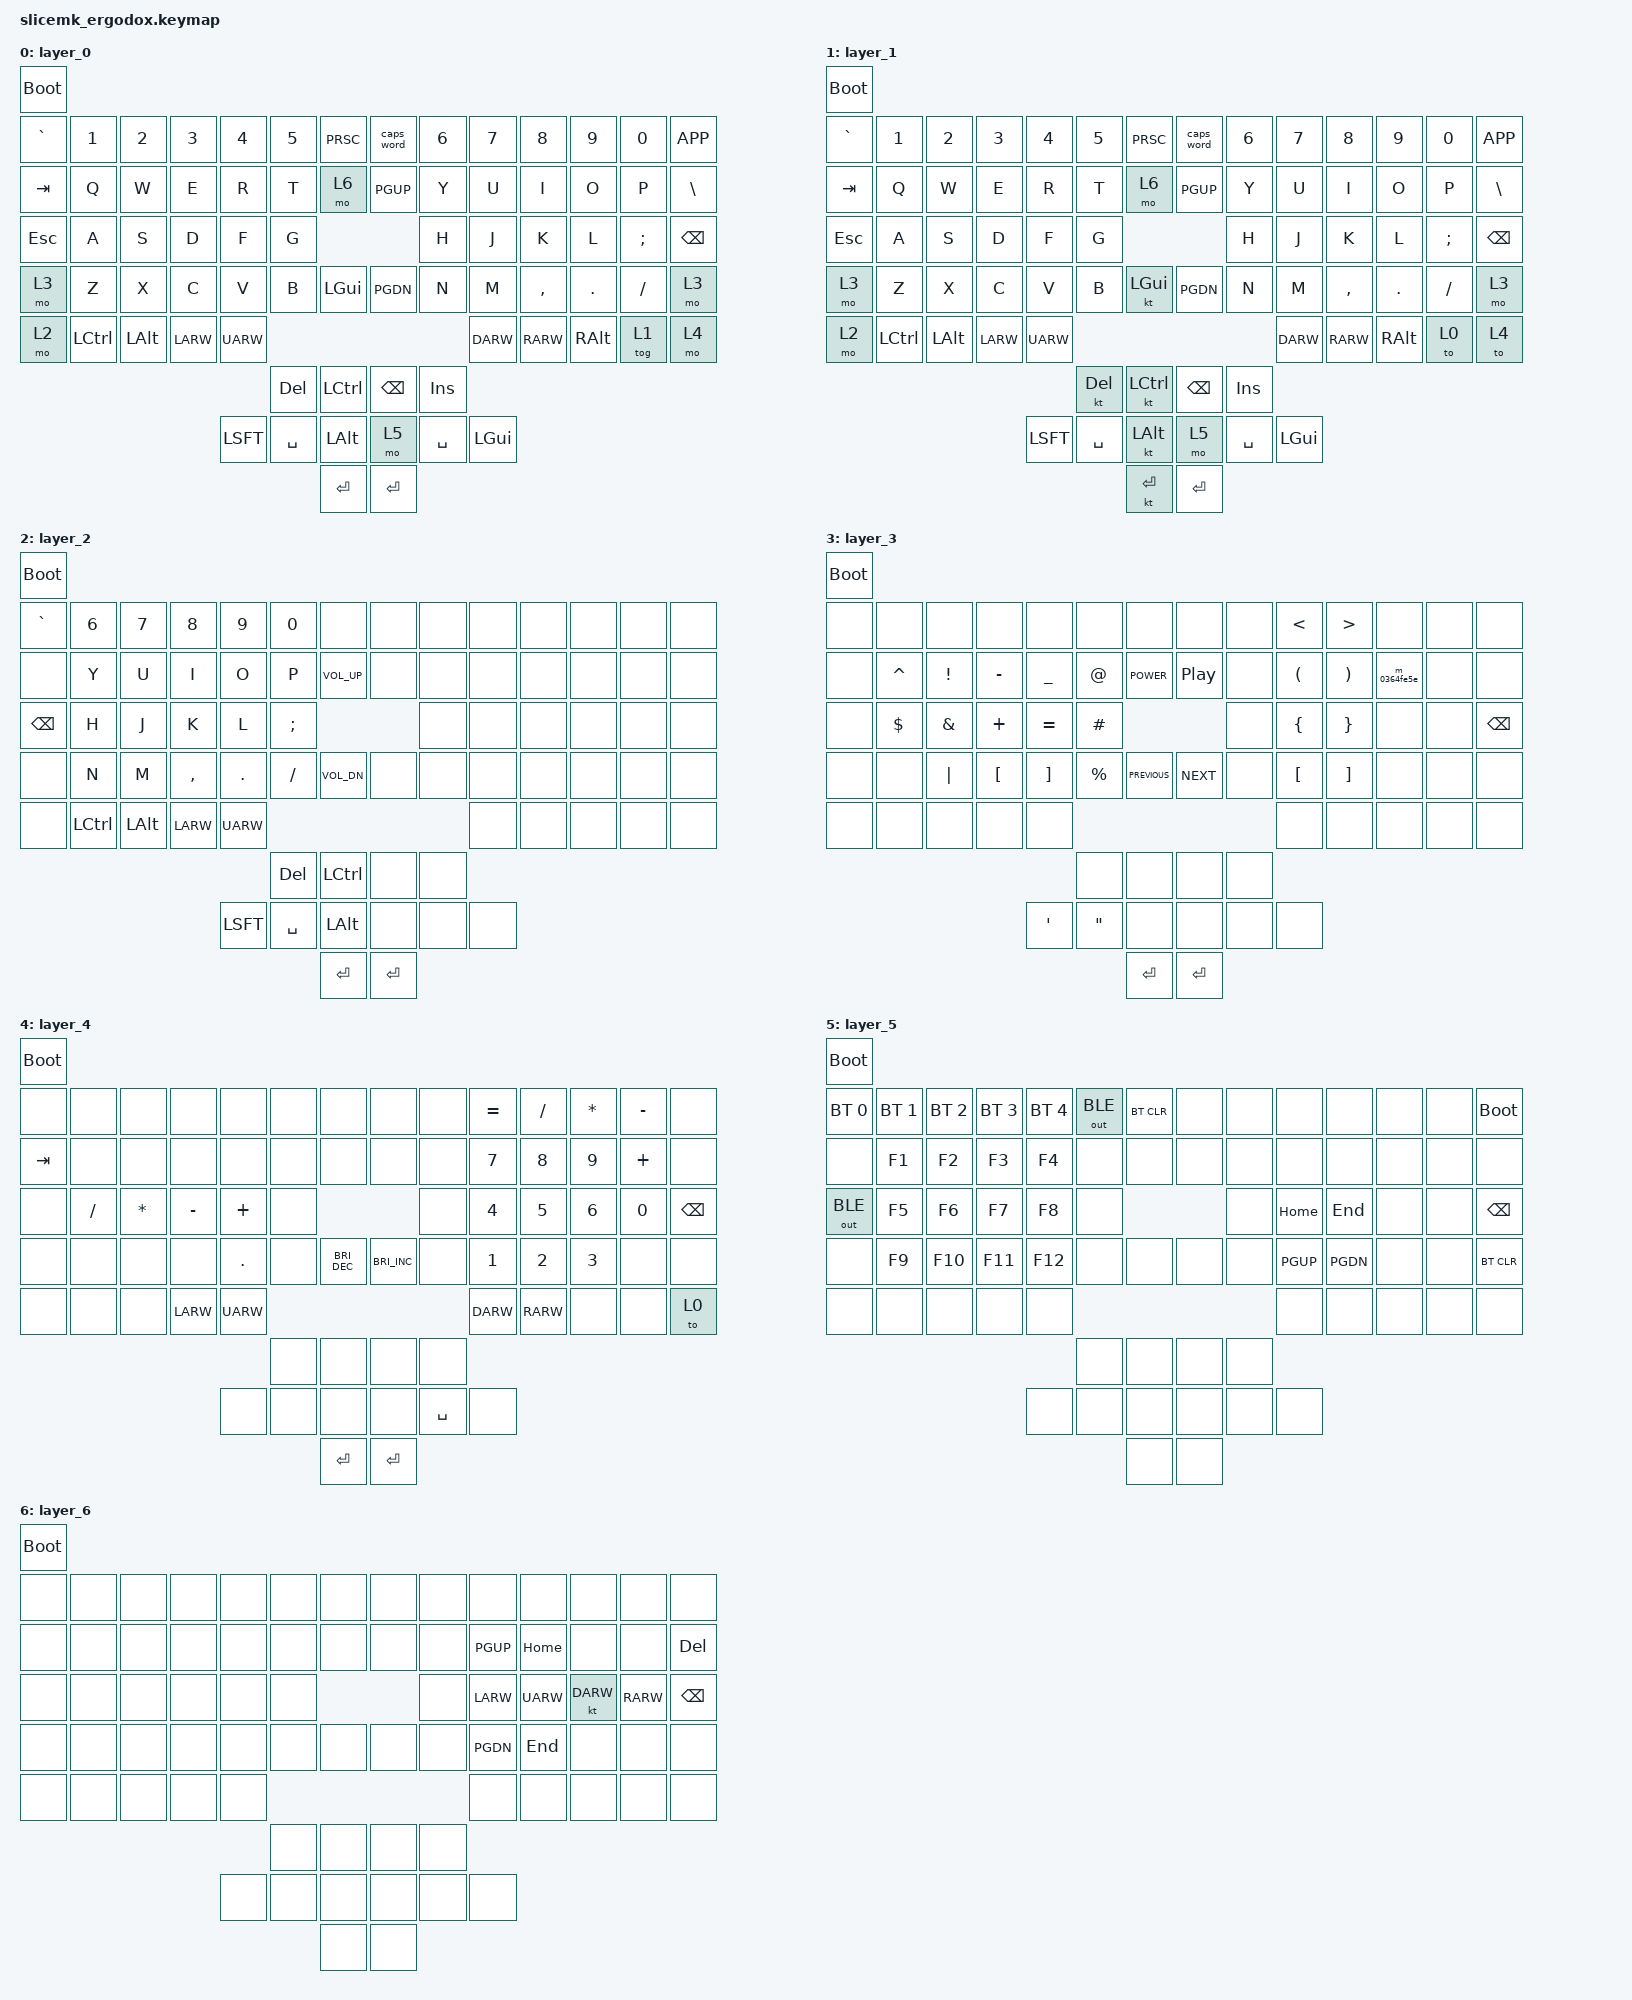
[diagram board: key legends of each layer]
#include <behaviors.dtsi>
#include <dt-bindings/zmk/bt.h>
#include <dt-bindings/zmk/keys.h>
#include <dt-bindings/zmk/outputs.h>



/ {
	keymap {
		compatible = "zmk,keymap";
		layer_0 {
			bindings = <
				&bootloader
				&kp GRAV &kp NUMBER_1 &kp NUMBER_2 &kp NUMBER_3 &kp NUMBER_4 &kp NUMBER_5 &kp PRSC &caps_word &kp NUMBER_6 &kp NUMBER_7 &kp NUMBER_8 &kp NUMBER_9 &kp NUMBER_0  &kp K_APP
				&kp TAB  &kp Q        &kp W        &kp E        &kp R        &kp T        &mo 6    &kp PGUP   &kp Y        &kp U        &kp I        &kp O        &kp P         &kp BSLH
				&kp ESC  &kp A        &kp S        &kp D        &kp F        &kp G                            &kp H        &kp J        &kp K        &kp L        &kp SEMICOLON &kp BKSP
				&mo 3    &kp Z        &kp X        &kp C        &kp V        &kp B        &kp LGUI &kp PGDN   &kp N        &kp M        &kp CMMA     &kp DOT      &kp FSLH      &mo 3
				&mo 2    &kp LCTL     &kp LALT     &kp LARW     &kp UARW                                                   &kp DARW     &kp RARW     &kp RALT     &tog 1        &mo 4
				                                                             &kp DEL      &kp LCTL &kp BKSP   &kp INS
				                                                &kp LSFT     &kp SPC      &kp LALT &mo 5      &kp SPC      &kp LGUI
				                                                                          &kp RET  &kp RET
			>;
		};
		layer_1 {
			bindings = <
				&bootloader
				&kp GRAV &kp NUMBER_1 &kp NUMBER_2 &kp NUMBER_3 &kp NUMBER_4 &kp NUMBER_5 &kp PRSC &caps_word &kp NUMBER_6 &kp NUMBER_7 &kp NUMBER_8 &kp NUMBER_9 &kp NUMBER_0  &kp K_APP
				&kp TAB  &kp Q        &kp W        &kp E        &kp R        &kp T        &mo 6    &kp PGUP   &kp Y        &kp U        &kp I        &kp O        &kp P         &kp BSLH
				&kp ESC  &kp A        &kp S        &kp D        &kp F        &kp G                            &kp H        &kp J        &kp K        &kp L        &kp SEMICOLON &kp BKSP
				&mo 3    &kp Z        &kp X        &kp C        &kp V        &kp B        &kt LGUI &kp PGDN   &kp N        &kp M        &kp CMMA     &kp DOT      &kp FSLH      &mo 3
				&mo 2    &kp LCTL     &kp LALT     &kp LARW     &kp UARW                                                   &kp DARW     &kp RARW     &kp RALT     &to 0         &to 4
				                                                             &kt DEL      &kt LCTL &kp BKSP   &kp INS
				                                                &kp LSFT     &kp SPC      &kt LALT &mo 5      &kp SPC      &kp LGUI
				                                                                          &kt RET  &kp RET
			>;
		};
		layer_2 {
			bindings = <
				&bootloader
				&kp GRAV &kp 6    &kp 7    &kp 8     &kp 9      &kp 0     &none        &none   &none &none &none &none &none &none
				&none    &kp Y    &kp U    &kp I     &kp O      &kp P     &kp K_VOL_UP &none   &none &none &none &none &none &none
				&kp BKSP &kp H    &kp J    &kp K     &kp L      &kp SEMI                       &none &none &none &none &none &none
				&none    &kp N    &kp M    &kp COMMA &kp PERIOD &kp SLASH &kp K_VOL_DN &none   &none &none &none &none &none &none
				&none    &kp LCTL &kp LALT &kp LARW  &kp UARW                                        &none &none &none &none &none
				                                                &kp DEL   &kp LCTL     &none   &none
				                                     &kp LSFT   &kp SPC   &kp LALT     &none   &none &none
				                                                          &kp RET      &kp RET
			>;
		};
		layer_3 {
			bindings = <
				&bootloader
				&none &none      &none    &none     &none            &none             &none          &none            &none &kp LT         &kp GT          &none       &none &none
				&none &kp CARET  &kp EXCL &kp MINUS &kp UNDERSCORE   &kp AT            &kp C_POWER    &kp C_PLAY_PAUSE &none &kp LPAR       &kp RPAR        &m_0364fe5e &none &none
				&none &kp DOLLAR &kp AMPS &kp PLUS  &kp EQUAL        &kp POUND                                         &none &kp LEFT_BRACE &kp RIGHT_BRACE &none       &none &kp BKSP
				&none &none      &kp PIPE &kp LBKT  &kp RBKT         &kp PERCENT       &kp C_PREVIOUS &kp C_NEXT       &none &kp LBKT       &kp RBKT        &none       &none &none
				&none &none      &none    &none     &none                                                                    &none          &none           &none       &none &none
				                                                     &none             &none          &none            &none
				                                    &kp SINGLE_QUOTE &kp DOUBLE_QUOTES &none          &none            &none &none
				                                                                       &kp RET        &kp RET
			>;
		};
		layer_4 {
			bindings = <
				&bootloader
				&none   &none     &none        &none     &none    &none &none                &none                &none   &kp EQUAL    &kp SLASH    &kp STAR     &kp MINUS    &none
				&kp TAB &none     &none        &none     &none    &none &none                &none                &none   &kp NUMBER_7 &kp NUMBER_8 &kp NUMBER_9 &kp PLUS     &none
				&none   &kp SLASH &kp ASTERISK &kp MINUS &kp PLUS &none                                           &none   &kp NUMBER_4 &kp NUMBER_5 &kp NUMBER_6 &kp NUMBER_0 &kp BKSP
				&none   &none     &none        &none     &kp DOT  &none &kp C_BRIGHTNESS_DEC &kp C_BRIGHTNESS_INC &none   &kp NUMBER_1 &kp NUMBER_2 &kp NUMBER_3 &none        &none
				&none   &none     &none        &kp LARW  &kp UARW                                                         &kp DARW     &kp RARW     &none        &none        &to 0
				                                                  &none &none                &none                &none
				                                         &none    &none &none                &none                &kp SPC &none
				                                                        &kp RET              &kp RET
			>;
		};
		layer_5 {
			bindings = <
				&bootloader
				&bt BT_SEL 0 &bt BT_SEL 1 &bt BT_SEL 2 &bt BT_SEL 3 &bt BT_SEL 4 &out OUT_BLE &bt BT_CLR &none &none &none    &none    &none &none &bootloader
				&none        &kp F1       &kp F2       &kp F3       &kp F4       &none        &none      &none &none &none    &none    &none &none &none
				&out OUT_BLE &kp F5       &kp F6       &kp F7       &kp F8       &none                         &none &kp HOME &kp END  &none &none &kp BKSP
				&none        &kp F9       &kp F10      &kp F11      &kp F12      &none        &none      &none &none &kp PGUP &kp PGDN &none &none &bt BT_CLR
				&none        &none        &none        &none        &none                                            &none    &none    &none &none &none
				                                                                 &none        &none      &none &none
				                                                    &none        &none        &none      &none &none &none
				                                                                              &none      &none
			>;
		};
		layer_6 {
			bindings = <
				&bootloader
				&none &none &none &none &none &none &none &none &none &none    &none    &none    &none    &none
				&none &none &none &none &none &none &none &none &none &kp PGUP &kp HOME &none    &none    &kp DEL
				&none &none &none &none &none &none             &none &kp LARW &kp UARW &kt DARW &kp RARW &kp BKSP
				&none &none &none &none &none &none &none &none &none &kp PGDN &kp END  &none    &none    &none
				&none &none &none &none &none                         &none    &none    &none    &none    &none
				                              &none &none &none &none
				                        &none &none &none &none &none &none
				                                    &none &none
			>;
		};
	};

	ZMK_MACRO(m_0364fe5e, wait-ms = <40>; tap-ms = <40>; bindings = <&macro_tap &kp EQUAL>, <&macro_tap &kp GREATER_THAN>;)
};
